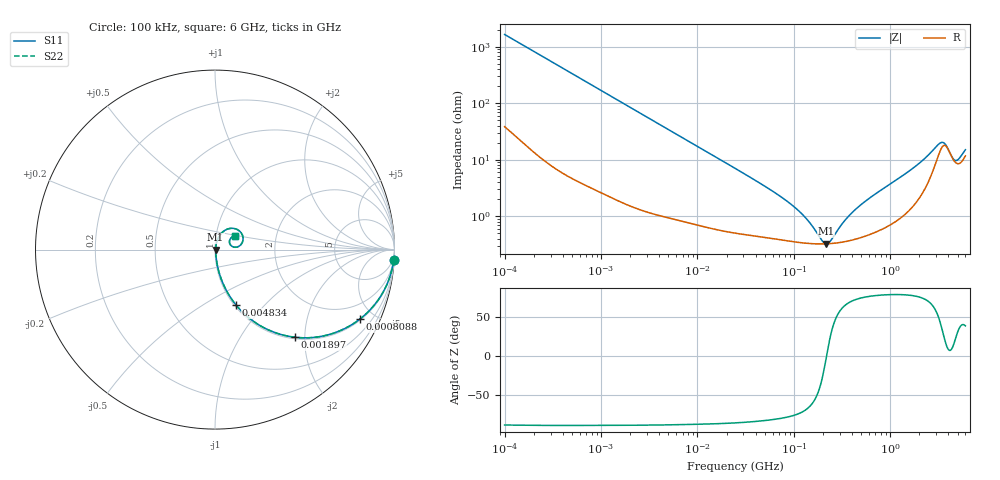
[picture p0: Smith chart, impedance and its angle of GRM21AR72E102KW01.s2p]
!Murata Part Number: GRM21AR72E102KW01
!These Parameters are Measured in Series Mode Connection
!Data Generated on Mar 30, 2021
!  o--ll--o
!Port1  Port2
!  o------o
!Operation Temp=25[degC], DC Bias Voltage=0[V]
!Freq. Start=100[kHz] Stop=6[GHz] 401[Steps]
# Hz S RI R 50
!Freq.(Hz) S11(Real) S11(Imag) S21(Real) S21(Imag) S12(Real) S12(Imag) S22(Real) S22(Imag)
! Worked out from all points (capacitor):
!   401 points, 100 kHz to 6 GHz, reference 50 ohm
!   read as one part in series: C = 957 pF near 105.7 kHz
!   lowest |Z| = 325 mohm at 215.2 MHz (marker M1)
!   series resonance near 217.9 MHz, so ESL is about 560 pH
!   S11 on the Smith chart (normalised r, x): 100 kHz: 2, -33; 808.8 kHz: 1.06, -4.16; 1.897 MHz: 1.03, -1.79; 4.834 MHz: 1.02, -0.71; 6 GHz: 1.23, +0.19
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100000  0.995 -0.06  0.00502 0.06  0.00502 0.06  0.995 -0.06
261871  0.9739 -0.1522  0.0261 0.1522  0.0261 0.1522  0.9739 -0.1522
631452  0.8727 -0.3263  0.1273 0.3263  0.1273 0.3263  0.8727 -0.3263
808814  0.8088 -0.3859  0.1912 0.3859  0.1912 0.3859  0.8088 -0.3859
1897385  0.4446 -0.4882  0.5554 0.4882  0.5554 0.4882  0.4446 -0.4882
3987316  0.1603 -0.355  0.8397 0.355  0.8397 0.355  0.1603 -0.355
4833907  0.1173 -0.3086  0.8827 0.3086  0.8827 0.3086  0.1173 -0.3086
1.044164e7  0.0327 -0.1583  0.9673 0.1583  0.9673 0.1583  0.0327 -0.1583
2.517799e7  0.00955 -0.0675  0.9905 0.0675  0.9905 0.0675  0.00955 -0.0675
8.44535e7  0.00398 -0.0181  0.996 0.0181  0.996 0.0181  0.00398 -0.0181
1.546735e8  0.00328 -0.00586  0.9967 0.00586  0.9967 0.00586  0.00328 -0.00586
1.927432e8  0.00322 -0.00207  0.9968 0.00207  0.9968 0.00207  0.00322 -0.00207
2.151595e8  0.00323 -0.00021  0.9968 0.00021  0.9968 0.00021  0.00323 -0.00021
2.401829e8  0.00327 0.00164  0.9967 -0.00164  0.9967 -0.00164  0.00327 0.00164
3.250433e8  0.00353 0.0069  0.9965 -0.0069  0.9965 -0.0069  0.00353 0.0069
4.279519e8  0.00401 0.0122  0.996 -0.0122  0.996 -0.0122  0.00401 0.0122
9.76689e8  0.00805 0.0352  0.9919 -0.0352  0.9919 -0.0352  0.00805 0.0352
2.168564e9  0.0336 0.0888  0.9664 -0.0888  0.9664 -0.0888  0.0336 0.0888
3.187187e9  0.1256 0.111  0.8744 -0.111  0.8744 -0.111  0.1256 0.111
3.65708e9  0.1559 0.0507  0.8441 -0.0507  0.8441 -0.0507  0.1559 0.0507
4.68428e9  0.0845 0.0286  0.9155 -0.0286  0.9155 -0.0286  0.0845 0.0286
6e9  0.1111 0.0752  0.8889 -0.0752  0.8889 -0.0752  0.1111 0.0752
